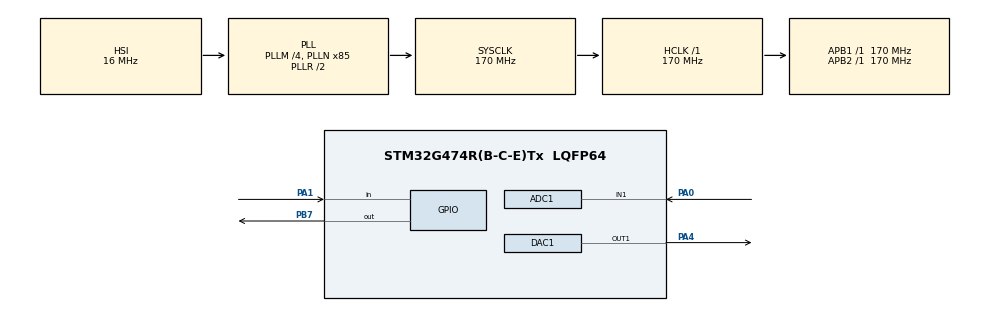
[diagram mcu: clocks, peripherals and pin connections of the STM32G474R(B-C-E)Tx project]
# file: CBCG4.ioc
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ADC1.Channel-3\#ChannelRegularConversion=ADC_CHANNEL_1
ADC1.ContinuousConvMode=ENABLE
ADC1.DMAContinuousRequests=DISABLE
ADC1.NbrOfConversionFlag=1
ADC1.OffsetNumber-3\#ChannelRegularConversion=ADC_OFFSET_NONE
ADC1.Rank-3\#ChannelRegularConversion=1
ADC1.SamplingTime-3\#ChannelRegularConversion=ADC_SAMPLETIME_2CYCLES_5
ADC1.master=1
Mcu.Family=STM32G4
Mcu.Name=STM32G474R(B-C-E)Tx
Mcu.Package=LQFP64
NVIC.PriorityGroup=NVIC_PRIORITYGROUP_4
NVIC.TIM1_UP_TIM16_IRQn=true\:15\:0\:false\:false\:true\:false\:true
NVIC.TIM2_IRQn=true\:0\:0\:false\:false\:true\:true\:true
NVIC.TimeBase=TIM1_UP_TIM16_IRQn
NVIC.TimeBaseIP=TIM1
PA0.Mode=IN1-Single-Ended
PA0.Signal=ADC1_IN1
PA1.Signal=GPIO_Input
PA4.Signal=COMP_DAC11_group
PB7.GPIO_Speed=GPIO_SPEED_FREQ_VERY_HIGH
PB7.Signal=GPIO_Output
ProjectManager.HeapSize=0x200
ProjectManager.StackSize=0x400
ProjectManager.TargetToolchain=STM32CubeIDE
RCC.ADC12Freq_Value=170000000
RCC.ADC345Freq_Value=170000000
RCC.AHBFreq_Value=170000000
RCC.APB1Freq_Value=170000000
RCC.APB1TimFreq_Value=170000000
RCC.APB2Freq_Value=170000000
RCC.APB2TimFreq_Value=170000000
RCC.CortexFreq_Value=170000000
RCC.EXTERNAL_CLOCK_VALUE=12288000
RCC.HCLKFreq_Value=170000000
RCC.HSE_VALUE=8000000
RCC.HSI48_VALUE=48000000
RCC.HSI_VALUE=16000000
RCC.LSE_VALUE=32768
RCC.PLLM=RCC_PLLM_DIV4
RCC.PLLN=85
RCC.SYSCLKFreq_VALUE=170000000
RCC.SYSCLKSource=RCC_SYSCLKSOURCE_PLLCLK
RCC.USBFreq_Value=170000000
RCC.VCOOutputFreq_Value=340000000
SH.COMP_DAC11_group.0=DAC1_OUT1,DAC_OUT1
VP_SYS_VS_tim1.Mode=TIM1
VP_TIM2_VS_ClockSourceINT.Mode=Internal
board=custom

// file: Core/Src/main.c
/* USER CODE BEGIN Header */
/**
  ******************************************************************************
  * @file           : main.c
  * @brief          : Main program body
  ******************************************************************************
  * @attention
  *
  * <h2><center>&copy; Copyright (c) 2021 STMicroelectronics.
  * All rights reserved.</center></h2>
  *
  * This software component is licensed by ST under BSD 3-Clause license,
  * the "License"; You may not use this file except in compliance with the
  * License. You may obtain a copy of the License at:
  *                        opensource.org/licenses/BSD-3-Clause
  *
  ******************************************************************************
  */
/* USER CODE END Header */
#include "main.h"

/* USER CODE BEGIN PD */
#define CTRLFREQUENCY 200e3
#define TIM2PSC 0
#define VOLT2DIG12BIT 1.2409e+03
/* USER CODE END PD */

ADC_HandleTypeDef hadc1;

DAC_HandleTypeDef hdac1;

TIM_HandleTypeDef htim2;

/* USER CODE BEGIN PV */
uint32_t Tim2ARR;
double paramFreq;
double voltvalue;
uint16_t adcvalue=0;
uint32_t adcBuf[1]={0};
uint32_t DACoutput2 = 3000;
uint8_t PIDInputOption = 1;
float LockInOutput;
tPID* 		 pPID1       =   &InstancePID1;
tPID* 		 pPID2       =   &InstancePID2;
/* USER CODE END PV */

void SystemClock_Config(void);
static void MX_GPIO_Init(void);
static void MX_ADC1_Init(void);
static void MX_TIM2_Init(void);
static void MX_DAC1_Init(void);

/* USER CODE BEGIN 0 */

uint32_t HAL_ADC_GetValue1(ADC_HandleTypeDef *hadc)
{
 uint32_t adcvalue;
 __HAL_ADC_CLEAR_FLAG(hadc, (ADC_FLAG_EOC | ADC_FLAG_EOS | ADC_FLAG_OVR));
 adcvalue= hadc->Instance->DR;
 ADC_STATE_CLR_SET(hadc->State,
                         HAL_ADC_STATE_REG_BUSY | HAL_ADC_STATE_INJ_BUSY,
                         HAL_ADC_STATE_READY);
  return adcvalue;
}
void HAL_TIM_PeriodElapsedCallback(TIM_HandleTypeDef *htim)
{
	if (htim->Instance==TIM2)
	{
		HAL_GPIO_TogglePin(GPIOB, GPIO_PIN_7);
//		HAL_ADC_Start1(&hadc1);
//		HAL_ADC_PollForConversion1(&hadc1);
//		HAL_GPIO_WritePin(GPIOB, GPIO_PIN_7, GPIO_PIN_SET);
		adcvalue=HAL_ADC_GetValue1(&hadc1);

	    voltvalue = (float)adcvalue/VOLT2DIG12BIT;
	    PID_Calc(pPID1,PIDInputOption, voltvalue,LockInOutput);
//	    HAL_GPIO_WritePin(GPIOB, GPIO_PIN_7, GPIO_PIN_RESET);
	}
}

/* USER CODE END 0 */

int main(void)
{

  /* MCU Configuration--------------------------------------------------------*/

  /* Reset of all peripherals, Initializes the Flash interface and the Systick. */
  HAL_Init();

  /* Configure the system clock */
  SystemClock_Config();

  /* Initialize all configured peripherals */
  MX_GPIO_Init();
  MX_ADC1_Init();
  MX_TIM2_Init();
  MX_DAC1_Init();
  /* USER CODE BEGIN 2 */

 // HAL_DAC_Start(&hdac1, DAC_CHANNEL_1);
  Tim2ARR=170e6 / CTRLFREQUENCY-1;
  __HAL_TIM_SET_PRESCALER(&htim2, TIM2PSC);
  __HAL_TIM_SET_AUTORELOAD(&htim2,  Tim2ARR);
    paramFreq = CTRLFREQUENCY;
    HAL_TIM_Base_Start_IT(&htim2);
    HAL_ADC_Start(&hadc1);
    HAL_DAC_Start(&hdac1, DAC_CHANNEL_1);
    PID_vInit(pPID1);
  /* USER CODE END 2 */

  /* Infinite loop */
  while (1)
  {
		HAL_DAC_SetValue(&hdac1, DAC_CHANNEL_1, DAC_ALIGN_12B_R, (uint32_t)3000);

  }
}

void SystemClock_Config(void)
{
  RCC_OscInitTypeDef RCC_OscInitStruct = {0};
  RCC_ClkInitTypeDef RCC_ClkInitStruct = {0};
  RCC_PeriphCLKInitTypeDef PeriphClkInit = {0};

  /** Configure the main internal regulator output voltage
  */
  HAL_PWREx_ControlVoltageScaling(PWR_REGULATOR_VOLTAGE_SCALE1_BOOST);
  /** Initializes the RCC Oscillators according to the specified parameters
  * in the RCC_OscInitTypeDef structure.
  */
  RCC_OscInitStruct.OscillatorType = RCC_OSCILLATORTYPE_HSI;
  RCC_OscInitStruct.HSIState = RCC_HSI_ON;
  RCC_OscInitStruct.HSICalibrationValue = RCC_HSICALIBRATION_DEFAULT;
  RCC_OscInitStruct.PLL.PLLState = RCC_PLL_ON;
  RCC_OscInitStruct.PLL.PLLSource = RCC_PLLSOURCE_HSI;
  RCC_OscInitStruct.PLL.PLLM = RCC_PLLM_DIV4;
  RCC_OscInitStruct.PLL.PLLN = 85;
  RCC_OscInitStruct.PLL.PLLP = RCC_PLLP_DIV2;
  RCC_OscInitStruct.PLL.PLLQ = RCC_PLLQ_DIV2;
  RCC_OscInitStruct.PLL.PLLR = RCC_PLLR_DIV2;
  if (HAL_RCC_OscConfig(&RCC_OscInitStruct) != HAL_OK)
  {
    Error_Handler();
  }
  /** Initializes the CPU, AHB and APB buses clocks
  */
  RCC_ClkInitStruct.ClockType = RCC_CLOCKTYPE_HCLK|RCC_CLOCKTYPE_SYSCLK
                              |RCC_CLOCKTYPE_PCLK1|RCC_CLOCKTYPE_PCLK2;
  RCC_ClkInitStruct.SYSCLKSource = RCC_SYSCLKSOURCE_PLLCLK;
  RCC_ClkInitStruct.AHBCLKDivider = RCC_SYSCLK_DIV1;
  RCC_ClkInitStruct.APB1CLKDivider = RCC_HCLK_DIV1;
  RCC_ClkInitStruct.APB2CLKDivider = RCC_HCLK_DIV1;

  if (HAL_RCC_ClockConfig(&RCC_ClkInitStruct, FLASH_LATENCY_4) != HAL_OK)
  {
    Error_Handler();
  }
  /** Initializes the peripherals clocks
  */
  PeriphClkInit.PeriphClockSelection = RCC_PERIPHCLK_ADC12;
  PeriphClkInit.Adc12ClockSelection = RCC_ADC12CLKSOURCE_SYSCLK;
  if (HAL_RCCEx_PeriphCLKConfig(&PeriphClkInit) != HAL_OK)
  {
    Error_Handler();
  }
}

static void MX_ADC1_Init(void)
{

  ADC_MultiModeTypeDef multimode = {0};
  ADC_ChannelConfTypeDef sConfig = {0};

  /** Common config
  */
  hadc1.Instance = ADC1;
  hadc1.Init.ClockPrescaler = ADC_CLOCK_SYNC_PCLK_DIV4;
  hadc1.Init.Resolution = ADC_RESOLUTION_12B;
  hadc1.Init.DataAlign = ADC_DATAALIGN_RIGHT;
  hadc1.Init.GainCompensation = 0;
  hadc1.Init.ScanConvMode = ADC_SCAN_DISABLE;
  hadc1.Init.EOCSelection = ADC_EOC_SINGLE_CONV;
  hadc1.Init.LowPowerAutoWait = DISABLE;
  hadc1.Init.ContinuousConvMode = ENABLE;
  hadc1.Init.NbrOfConversion = 1;
  hadc1.Init.DiscontinuousConvMode = DISABLE;
  hadc1.Init.ExternalTrigConv = ADC_SOFTWARE_START;
  hadc1.Init.ExternalTrigConvEdge = ADC_EXTERNALTRIGCONVEDGE_NONE;
  hadc1.Init.DMAContinuousRequests = DISABLE;
  hadc1.Init.Overrun = ADC_OVR_DATA_PRESERVED;
  hadc1.Init.OversamplingMode = DISABLE;
  if (HAL_ADC_Init(&hadc1) != HAL_OK)
  {
    Error_Handler();
  }
  /** Configure the ADC multi-mode
  */
  multimode.Mode = ADC_MODE_INDEPENDENT;
  if (HAL_ADCEx_MultiModeConfigChannel(&hadc1, &multimode) != HAL_OK)
  {
    Error_Handler();
  }
  /** Configure Regular Channel
  */
  sConfig.Channel = ADC_CHANNEL_1;
  sConfig.Rank = ADC_REGULAR_RANK_1;
  sConfig.SamplingTime = ADC_SAMPLETIME_2CYCLES_5;
  sConfig.SingleDiff = ADC_SINGLE_ENDED;
  sConfig.OffsetNumber = ADC_OFFSET_NONE;
  sConfig.Offset = 0;
  if (HAL_ADC_ConfigChannel(&hadc1, &sConfig) != HAL_OK)
  {
    Error_Handler();
  }

}

static void MX_DAC1_Init(void)
{

  DAC_ChannelConfTypeDef sConfig = {0};

  /** DAC Initialization
  */
  hdac1.Instance = DAC1;
  if (HAL_DAC_Init(&hdac1) != HAL_OK)
  {
    Error_Handler();
  }
  /** DAC channel OUT1 config
  */
  sConfig.DAC_HighFrequency = DAC_HIGH_FREQUENCY_INTERFACE_MODE_AUTOMATIC;
  sConfig.DAC_DMADoubleDataMode = DISABLE;
  sConfig.DAC_SignedFormat = DISABLE;
  sConfig.DAC_SampleAndHold = DAC_SAMPLEANDHOLD_DISABLE;
  sConfig.DAC_Trigger = DAC_TRIGGER_NONE;
  sConfig.DAC_Trigger2 = DAC_TRIGGER_NONE;
  sConfig.DAC_OutputBuffer = DAC_OUTPUTBUFFER_ENABLE;
  sConfig.DAC_ConnectOnChipPeripheral = DAC_CHIPCONNECT_EXTERNAL;
  sConfig.DAC_UserTrimming = DAC_TRIMMING_FACTORY;
  if (HAL_DAC_ConfigChannel(&hdac1, &sConfig, DAC_CHANNEL_1) != HAL_OK)
  {
    Error_Handler();
  }

}

static void MX_TIM2_Init(void)
{

  TIM_ClockConfigTypeDef sClockSourceConfig = {0};
  TIM_MasterConfigTypeDef sMasterConfig = {0};

  htim2.Instance = TIM2;
  htim2.Init.Prescaler = 0;
  htim2.Init.CounterMode = TIM_COUNTERMODE_UP;
  htim2.Init.Period = 4.294967295E9;
  htim2.Init.ClockDivision = TIM_CLOCKDIVISION_DIV1;
  htim2.Init.AutoReloadPreload = TIM_AUTORELOAD_PRELOAD_DISABLE;
  if (HAL_TIM_Base_Init(&htim2) != HAL_OK)
  {
    Error_Handler();
  }
  sClockSourceConfig.ClockSource = TIM_CLOCKSOURCE_INTERNAL;
  if (HAL_TIM_ConfigClockSource(&htim2, &sClockSourceConfig) != HAL_OK)
  {
    Error_Handler();
  }
  sMasterConfig.MasterOutputTrigger = TIM_TRGO_RESET;
  sMasterConfig.MasterSlaveMode = TIM_MASTERSLAVEMODE_DISABLE;
  if (HAL_TIMEx_MasterConfigSynchronization(&htim2, &sMasterConfig) != HAL_OK)
  {
    Error_Handler();
  }

}

static void MX_GPIO_Init(void)
{
  GPIO_InitTypeDef GPIO_InitStruct = {0};

  /* GPIO Ports Clock Enable */
  __HAL_RCC_GPIOA_CLK_ENABLE();
  __HAL_RCC_GPIOB_CLK_ENABLE();

  /*Configure GPIO pin Output Level */
  HAL_GPIO_WritePin(GPIOB, GPIO_PIN_7, GPIO_PIN_RESET);

  /*Configure GPIO pin : PA1 */
  GPIO_InitStruct.Pin = GPIO_PIN_1;
  GPIO_InitStruct.Mode = GPIO_MODE_INPUT;
  GPIO_InitStruct.Pull = GPIO_NOPULL;
  HAL_GPIO_Init(GPIOA, &GPIO_InitStruct);

  /*Configure GPIO pin : PB7 */
  GPIO_InitStruct.Pin = GPIO_PIN_7;
  GPIO_InitStruct.Mode = GPIO_MODE_OUTPUT_PP;
  GPIO_InitStruct.Pull = GPIO_NOPULL;
  GPIO_InitStruct.Speed = GPIO_SPEED_FREQ_VERY_HIGH;
  HAL_GPIO_Init(GPIOB, &GPIO_InitStruct);

}

/* USER CODE BEGIN 4 */
float PIDInputSWitch(uint8_t PIDInputOption, float ADCvalue,float LockIn)
{
	 float PIDInput;
	 if (PIDInputOption == 0)
			 {
	 	 	 	 PIDInput=LockIn;
			 }
	else
			{
				PIDInput =ADCvalue;
			}
	 return(PIDInput);
}
void PID_vInit(tPID* pPID)
{                                          ///< Zeiger auf Reglerstruktur
	pPID->_Ts 				= 		1/CTRLFREQUENCY;
	pPID-> _Kp				= 		0.2;
	pPID-> _Ki				= 		0;
	pPID-> _Kd				= 		0.5;
	pPID-> _max				= 		3;
	pPID-> _min				= 		-3;
	pPID-> _Kaw				= 		0.0;
	pPID-> _EnKc			= 		1;
	pPID-> _fc				= 		10;
    pPID-> _PIDHold			= 		0.0;
	pPID->error             =        0;
	pPID->error_1lag        =        0;
	pPID->error_2lag        =        0;
	pPID->error_AnWi        =        0;
	pPID->preout            =        0;
	pPID->_kt               =        -1;
	pPID->En                =        1.0;
	pPID->ref               =       0.0;
	pPID->a0                =        0.0;
	pPID->a1 				= 		0.0;
	pPID->a2      			= 		0.0;
	pPID->aw				=		0.0;
	pPID->omega 			=		0;
	pPID->a0 				= 		pPID-> _Kp+pPID-> _Kd/V2MUV/pPID->_Ts+pPID->_Ki*V2MV*pPID->_Ts;
	pPID->a1 				= 		-(pPID-> _Kp+pPID-> _Kd/V2MUV/pPID->_Ts*2.0);
	pPID->a2 				=		pPID->_Kd/V2MUV/pPID->_Ts;
	pPID->aw   				=		pPID->_Kaw*pPID->_Ts;
};
void PID_Calc(tPID* pPID,uint8_t PIDInputOption, double ADCvalue,double LockIn)
{
	double 			output;
	double 			outputsat;
	double          pd;
	pd          				= 	PIDInputSWitch(PIDInputOption, ADCvalue, LockIn);
	pPID->error = (pPID->ref - pd)*pPID->_kt;
	if (pPID->En>=1)
	{
		output = (pPID->preout+pPID->a0*pPID->error + pPID->a1*pPID->error_1lag + pPID->a2*pPID->error_2lag+pPID->aw*pPID->error_AnWi)/(1+pPID->omega*pPID->_Ts);
	}
	else
	{
		output = 0;
		pPID->error             =        0;
		pPID->error_1lag        =        0;
		pPID->error_2lag        =        0;
		pPID->preout            =        0;
	}
//	if( output > pPID->_max*3)
//		{
//		   output = 3*pPID->_max;
//		}
//	if( output < pPID->_min*3 )
//			{
//			   output = 3*pPID->_min;
//			}
	pPID->preout = output;
	    // Restrict to max/min
	if( output > pPID->_max )
	{
	   outputsat = pPID->_max;
	}
	else if( output < pPID->_min )
	{
	   outputsat = pPID->_min;
	}
	else
	{
	   outputsat = output;
	}
	pPID->error_AnWi              =   outputsat-output;
	    // Save error to previous error
	pPID->error_2lag = pPID->error_1lag;
	pPID->error_1lag = pPID->error;
//   tty3 =Kd/pPID->_Ts;
	pPID->outvalue= outputsat;
}
/* USER CODE END 4 */

/**

void Error_Handler(void)
{
  __disable_irq();
  while (1)
  {
  }
}

/************************ (C) COPYRIGHT STMicroelectronics *****END OF FILE****/
